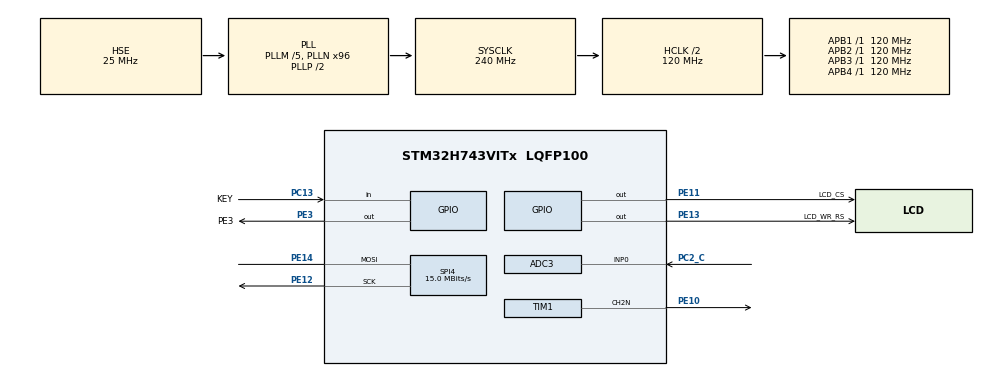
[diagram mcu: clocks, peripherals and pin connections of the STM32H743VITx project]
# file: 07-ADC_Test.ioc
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ADC3.Channel-0\#ChannelRegularConversion=ADC_CHANNEL_0
ADC3.Channel-1\#ChannelRegularConversion=ADC_CHANNEL_VREFINT
ADC3.Channel-2\#ChannelRegularConversion=ADC_CHANNEL_TEMPSENSOR
ADC3.Channel-3\#ChannelRegularConversion=ADC_CHANNEL_VBAT
ADC3.ContinuousConvMode=DISABLE
ADC3.DiscontinuousConvMode=ENABLE
ADC3.NbrOfConversion=4
ADC3.NbrOfConversionFlag=1
ADC3.OffsetNumber-0\#ChannelRegularConversion=ADC_OFFSET_NONE
ADC3.OffsetNumber-1\#ChannelRegularConversion=ADC_OFFSET_NONE
ADC3.OffsetNumber-2\#ChannelRegularConversion=ADC_OFFSET_NONE
ADC3.OffsetNumber-3\#ChannelRegularConversion=ADC_OFFSET_NONE
ADC3.Rank-0\#ChannelRegularConversion=1
ADC3.Rank-1\#ChannelRegularConversion=2
ADC3.Rank-2\#ChannelRegularConversion=3
ADC3.Rank-3\#ChannelRegularConversion=4
ADC3.SamplingTime-0\#ChannelRegularConversion=ADC_SAMPLETIME_387CYCLES_5
ADC3.SamplingTime-1\#ChannelRegularConversion=ADC_SAMPLETIME_387CYCLES_5
ADC3.SamplingTime-2\#ChannelRegularConversion=ADC_SAMPLETIME_387CYCLES_5
ADC3.SamplingTime-3\#ChannelRegularConversion=ADC_SAMPLETIME_387CYCLES_5
Mcu.Family=STM32H7
Mcu.Name=STM32H743VITx
Mcu.Package=LQFP100
NVIC.PriorityGroup=NVIC_PRIORITYGROUP_4
PA13\ (JTMS/SWDIO).Mode=Serial_Wire
PA13\ (JTMS/SWDIO).Signal=DEBUG_JTMS-SWDIO
PA14\ (JTCK/SWCLK).Mode=Serial_Wire
PA14\ (JTCK/SWCLK).Signal=DEBUG_JTCK-SWCLK
PC13.GPIO_Label=KEY
PC13.GPIO_PuPd=GPIO_PULLDOWN
PC13.Signal=GPIO_Input
PC14-OSC32_IN\ (OSC32_IN).Mode=LSE-External-Oscillator
PC14-OSC32_IN\ (OSC32_IN).Signal=RCC_OSC32_IN
PC15-OSC32_OUT\ (OSC32_OUT).Mode=LSE-External-Oscillator
PC15-OSC32_OUT\ (OSC32_OUT).Signal=RCC_OSC32_OUT
PC2_C.Mode=IN0-Single-Ended
PC2_C.Signal=ADC3_INP0
PE10.Mode=PWM Generation2 CH2N
PE10.Signal=TIM1_CH2N
PE11.GPIO_Label=LCD_CS
PE11.GPIO_Speed=GPIO_SPEED_FREQ_VERY_HIGH
PE11.PinState=GPIO_PIN_SET
PE11.Signal=GPIO_Output
PE12.GPIO_Speed=GPIO_SPEED_FREQ_MEDIUM
PE12.Mode=Simplex_Bidirectional_Master
PE12.Signal=SPI4_SCK
PE13.GPIO_Label=LCD_WR_RS
PE13.GPIO_Speed=GPIO_SPEED_FREQ_VERY_HIGH
PE13.PinState=GPIO_PIN_SET
PE13.Signal=GPIO_Output
PE14.GPIO_Speed=GPIO_SPEED_FREQ_MEDIUM
PE14.Mode=Simplex_Bidirectional_Master
PE14.Signal=SPI4_MOSI
PE3.GPIO_Label=PE3
PE3.Signal=GPIO_Output
PH0-OSC_IN\ (PH0).Mode=HSE-External-Oscillator
PH0-OSC_IN\ (PH0).Signal=RCC_OSC_IN
PH1-OSC_OUT\ (PH1).Mode=HSE-External-Oscillator
PH1-OSC_OUT\ (PH1).Signal=RCC_OSC_OUT
ProjectManager.HeapSize=0x200
ProjectManager.StackSize=0x400
ProjectManager.TargetToolchain=MDK-ARM V5.27
RCC.ADCCLockSelection=RCC_ADCCLKSOURCE_PLL3
RCC.ADCFreq_Value=75000000
RCC.APB1Freq_Value=120000000
RCC.APB2Freq_Value=120000000
RCC.APB3Freq_Value=120000000
RCC.APB4Freq_Value=120000000
RCC.CortexFreq_Value=240000000
RCC.DIVM1=5
RCC.DIVM2=4
RCC.DIVM3=10
RCC.DIVN1=96
RCC.DIVN2=9
RCC.DIVN3=60
RCC.DIVP2=1
RCC.HCLKFreq_Value=120000000
RCC.HPRE=RCC_HCLK_DIV2
RCC.PLL2FRACN=3072
RCC.PLL3FRACN=0
RCC.PLLFRACN=0
RCC.PLLSourceVirtual=RCC_PLLSOURCE_HSE
RCC.PWR_Regulator_Voltage_Scale=PWR_REGULATOR_VOLTAGE_SCALE0
RCC.SYSCLKFreq_VALUE=240000000
RCC.SYSCLKSource=RCC_SYSCLKSOURCE_PLLCLK
RCC.USBFreq_Value=240000000
SPI4.BaudRatePrescaler=SPI_BAUDRATEPRESCALER_8
SPI4.CalculateBaudRate=15.0 MBits/s
SPI4.DataSize=SPI_DATASIZE_8BIT
SPI4.Direction=SPI_DIRECTION_1LINE
SPI4.Mode=SPI_MODE_MASTER
SPI4.VirtualType=VM_MASTER
TIM1.Channel-PWM\ Generation2\ CH2N=TIM_CHANNEL_2
TIM1.OCNPolarity_2=TIM_OCNPOLARITY_LOW
TIM1.Period=1000-1
TIM1.Prescaler=12-1
VP_ADC3_TempSens_Input.Mode=IN-TempSens
VP_ADC3_Vbat_Input.Mode=IN-Vbat
VP_ADC3_Vref_Input.Mode=IN-Vrefint
VP_VREFBUF_V_VREFBUF.Mode=ExternalMode
board=custom

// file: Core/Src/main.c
/* USER CODE BEGIN Header */
/**
  ******************************************************************************
  * @file           : main.c
  * @brief          : Main program body
  ******************************************************************************
  * @attention
  *
  * <h2><center>&copy; Copyright (c) 2020 STMicroelectronics.
  * All rights reserved.</center></h2>
  *
  * This software component is licensed by ST under BSD 3-Clause license,
  * the "License"; You may not use this file except in compliance with the
  * License. You may obtain a copy of the License at:
  *                        opensource.org/licenses/BSD-3-Clause
  *
  ******************************************************************************
  */
/* USER CODE END Header */
#include "main.h"
#include "adc.h"
#include "spi.h"
#include "tim.h"
#include "gpio.h"

/* USER CODE BEGIN Includes */
#include "lcd.h"
/* USER CODE END Includes */

void SystemClock_Config(void);
/* USER CODE BEGIN PFP */
__IO uint16_t uhADCxConvertedValue[4];
__IO uint32_t uhADCxInputVoltage[4];
uint32_t adc3_inp0,vbat,tempsensor,vrefint;
/* USER CODE END PFP */

/* USER CODE BEGIN 0 */

static void MPU_Config(void)
{
  MPU_Region_InitTypeDef MPU_InitStruct = {0};

  /* Disables the MPU */
  HAL_MPU_Disable();

  /* Configure the MPU attributes for the QSPI 256MB without instruction access */
  MPU_InitStruct.Enable           = MPU_REGION_ENABLE;
  MPU_InitStruct.Number           = MPU_REGION_NUMBER0;
  MPU_InitStruct.BaseAddress      = QSPI_BASE;
  MPU_InitStruct.Size             = MPU_REGION_SIZE_256MB;
  MPU_InitStruct.AccessPermission = MPU_REGION_NO_ACCESS;
  MPU_InitStruct.IsBufferable     = MPU_ACCESS_NOT_BUFFERABLE;
  MPU_InitStruct.IsCacheable      = MPU_ACCESS_NOT_CACHEABLE;
  MPU_InitStruct.IsShareable      = MPU_ACCESS_NOT_SHAREABLE;
  MPU_InitStruct.DisableExec      = MPU_INSTRUCTION_ACCESS_DISABLE;
  MPU_InitStruct.TypeExtField     = MPU_TEX_LEVEL1;
  MPU_InitStruct.SubRegionDisable = 0x00;
  HAL_MPU_ConfigRegion(&MPU_InitStruct);

  /* Configure the MPU attributes for the QSPI 8MB (QSPI Flash Size) to Cacheable WT */
  MPU_InitStruct.Enable           = MPU_REGION_ENABLE;
  MPU_InitStruct.Number           = MPU_REGION_NUMBER1;
  MPU_InitStruct.BaseAddress      = QSPI_BASE;
  MPU_InitStruct.Size             = MPU_REGION_SIZE_8MB;
  MPU_InitStruct.AccessPermission = MPU_REGION_PRIV_RO;
  MPU_InitStruct.IsBufferable     = MPU_ACCESS_BUFFERABLE;
  MPU_InitStruct.IsCacheable      = MPU_ACCESS_CACHEABLE;
  MPU_InitStruct.IsShareable      = MPU_ACCESS_NOT_SHAREABLE;
  MPU_InitStruct.DisableExec      = MPU_INSTRUCTION_ACCESS_ENABLE;
  MPU_InitStruct.TypeExtField     = MPU_TEX_LEVEL1;
  MPU_InitStruct.SubRegionDisable = 0x00;
  HAL_MPU_ConfigRegion(&MPU_InitStruct);

  /* Enables the MPU */
  HAL_MPU_Enable(MPU_PRIVILEGED_DEFAULT);
}

static void CPU_CACHE_Enable(void)
{
  /* Enable I-Cache */
  SCB_EnableICache();

  /* Enable D-Cache */
  SCB_EnableDCache();
}

void LED_Blink(uint32_t delay)
{
	HAL_GPIO_WritePin(PE3_GPIO_Port,PE3_Pin,GPIO_PIN_SET);
	HAL_Delay(delay - 1);
	HAL_GPIO_WritePin(PE3_GPIO_Port,PE3_Pin,GPIO_PIN_RESET);
	HAL_Delay(500-1);
}
/* USER CODE END 0 */

int main(void)
{
  /* USER CODE BEGIN 1 */
  #ifdef W25Qxx
    SCB->VTOR = QSPI_BASE;
  #endif
  MPU_Config();
  CPU_CACHE_Enable();
  /* USER CODE END 1 */

  /* MCU Configuration--------------------------------------------------------*/

  /* Reset of all peripherals, Initializes the Flash interface and the Systick. */
  HAL_Init();

  /* Configure the system clock */
  SystemClock_Config();

  /* Initialize all configured peripherals */
  MX_GPIO_Init();
  MX_ADC3_Init();
  MX_SPI4_Init();
  MX_TIM1_Init();
  /* USER CODE BEGIN 2 */

  LCD_Test();

	/* Run the ADC calibration in single-ended mode */
  if (HAL_ADCEx_Calibration_Start(&hadc3, ADC_CALIB_OFFSET, ADC_SINGLE_ENDED) != HAL_OK)
  {
    /* Calibration Error */
    Error_Handler();
  }
  /* USER CODE END 2 */

  /* Infinite loop */
  while (1)
  {

    /* USER CODE BEGIN 3 */
		for(uint32_t i = 0;i<(sizeof(uhADCxConvertedValue)/sizeof(uint16_t));i++)
		{
			/*##-1- Start the conversion process #######################################*/
			if (HAL_ADC_Start(&hadc3) != HAL_OK)
			{
				/* Start Conversation Error */
				Error_Handler();
			}
			/*##-2- Wait for the end of conversion #####################################*/
			/*  For simplicity reasons, this example is just waiting till the end of the
					conversion, but application may perform other tasks while conversion
					operation is ongoing. */
			if (HAL_ADC_PollForConversion(&hadc3, 100) != HAL_OK)
			{
				/* End Of Conversion flag not set on time */
				Error_Handler();
			}
			else
			{
				/* ADC conversion completed */
				/*##-3- Get the converted value of regular channel  ########################*/
				uhADCxConvertedValue[i] = HAL_ADC_GetValue(&hadc3);

				/* Convert the result from 16 bit value to the voltage dimension (mV unit) */
				/* Vref = 3.3 V */
				uhADCxInputVoltage[i] = ((uhADCxConvertedValue[i] * 3300) / 0xFFFF);
			}
		}
		HAL_ADC_Stop(&hadc3);

		#define V30  (620)  // mV, V30: 0.62V,datasheet P278
		#define Avg_Slope (2) // mV/¡ãC

		adc3_inp0  = uhADCxInputVoltage[0]; // mv
		vrefint    = uhADCxInputVoltage[1]; // type. 1200mV
		tempsensor = ((int32_t)uhADCxInputVoltage[2] - V30)/Avg_Slope + 30; // ¡ãC
		vbat       = uhADCxInputVoltage[3] * 4;

		uint8_t text[20];
		#ifdef TFT96
		sprintf((char *)&text, " PC2: %4dmV Vref: %4dmV", adc3_inp0, vrefint);
		LCD_ShowString(0, 46, ST7735Ctx.Width, 16, 12, text);
		sprintf((char *)&text, "temp: %3d 'C vbat: %4dmV", tempsensor, vbat);
		LCD_ShowString(0, 62, ST7735Ctx.Width,16,12,text);
		#elif TFT18
		sprintf((char *)&text, " PC2: %4dmV", adc3_inp0);
		LCD_ShowString(0, 46, ST7735Ctx.Width, 16, 12, text);
		sprintf((char *)&text, " Vref: %4dmV", vrefint);
		LCD_ShowString(0, 62, ST7735Ctx.Width, 16, 12, text);
		sprintf((char *)&text, " temp: %3d 'C", tempsensor);
		LCD_ShowString(0, 78, ST7735Ctx.Width, 16, 12, text);
		sprintf((char *)&text, " vbat: %4dmV", vbat);
		LCD_ShowString(0, 94, ST7735Ctx.Width, 16, 12, text);
		#endif

		LED_Blink(3);
  }
  /* USER CODE END 3 */
}

void SystemClock_Config(void)
{
  RCC_OscInitTypeDef RCC_OscInitStruct = {0};
  RCC_ClkInitTypeDef RCC_ClkInitStruct = {0};
  RCC_PeriphCLKInitTypeDef PeriphClkInitStruct = {0};

  /** Supply configuration update enable
  */
  HAL_PWREx_ConfigSupply(PWR_LDO_SUPPLY);
  /** Configure the main internal regulator output voltage
  */
  __HAL_PWR_VOLTAGESCALING_CONFIG(PWR_REGULATOR_VOLTAGE_SCALE2);

  while(!__HAL_PWR_GET_FLAG(PWR_FLAG_VOSRDY)) {}
  /** Macro to configure the PLL clock source
  */
  __HAL_RCC_PLL_PLLSOURCE_CONFIG(RCC_PLLSOURCE_HSE);
  /** Initializes the RCC Oscillators according to the specified parameters
  * in the RCC_OscInitTypeDef structure.
  */
  RCC_OscInitStruct.OscillatorType = RCC_OSCILLATORTYPE_HSE;
  RCC_OscInitStruct.HSEState = RCC_HSE_ON;
  RCC_OscInitStruct.PLL.PLLState = RCC_PLL_ON;
  RCC_OscInitStruct.PLL.PLLSource = RCC_PLLSOURCE_HSE;
  RCC_OscInitStruct.PLL.PLLM = 5;
  RCC_OscInitStruct.PLL.PLLN = 96;
  RCC_OscInitStruct.PLL.PLLP = 2;
  RCC_OscInitStruct.PLL.PLLQ = 2;
  RCC_OscInitStruct.PLL.PLLR = 2;
  RCC_OscInitStruct.PLL.PLLRGE = RCC_PLL1VCIRANGE_2;
  RCC_OscInitStruct.PLL.PLLVCOSEL = RCC_PLL1VCOWIDE;
  RCC_OscInitStruct.PLL.PLLFRACN = 0;
  if (HAL_RCC_OscConfig(&RCC_OscInitStruct) != HAL_OK)
  {
    Error_Handler();
  }
  /** Initializes the CPU, AHB and APB buses clocks
  */
  RCC_ClkInitStruct.ClockType = RCC_CLOCKTYPE_HCLK|RCC_CLOCKTYPE_SYSCLK
                              |RCC_CLOCKTYPE_PCLK1|RCC_CLOCKTYPE_PCLK2
                              |RCC_CLOCKTYPE_D3PCLK1|RCC_CLOCKTYPE_D1PCLK1;
  RCC_ClkInitStruct.SYSCLKSource = RCC_SYSCLKSOURCE_PLLCLK;
  RCC_ClkInitStruct.SYSCLKDivider = RCC_SYSCLK_DIV1;
  RCC_ClkInitStruct.AHBCLKDivider = RCC_HCLK_DIV2;
  RCC_ClkInitStruct.APB3CLKDivider = RCC_APB3_DIV1;
  RCC_ClkInitStruct.APB1CLKDivider = RCC_APB1_DIV1;
  RCC_ClkInitStruct.APB2CLKDivider = RCC_APB2_DIV1;
  RCC_ClkInitStruct.APB4CLKDivider = RCC_APB4_DIV1;

  if (HAL_RCC_ClockConfig(&RCC_ClkInitStruct, FLASH_LATENCY_1) != HAL_OK)
  {
    Error_Handler();
  }
  PeriphClkInitStruct.PeriphClockSelection = RCC_PERIPHCLK_SPI4|RCC_PERIPHCLK_ADC;
  PeriphClkInitStruct.PLL3.PLL3M = 10;
  PeriphClkInitStruct.PLL3.PLL3N = 60;
  PeriphClkInitStruct.PLL3.PLL3P = 2;
  PeriphClkInitStruct.PLL3.PLL3Q = 2;
  PeriphClkInitStruct.PLL3.PLL3R = 1;
  PeriphClkInitStruct.PLL3.PLL3RGE = RCC_PLL3VCIRANGE_1;
  PeriphClkInitStruct.PLL3.PLL3VCOSEL = RCC_PLL3VCOMEDIUM;
  PeriphClkInitStruct.PLL3.PLL3FRACN = 0;
  PeriphClkInitStruct.Spi45ClockSelection = RCC_SPI45CLKSOURCE_D2PCLK1;
  PeriphClkInitStruct.AdcClockSelection = RCC_ADCCLKSOURCE_PLL3;
  if (HAL_RCCEx_PeriphCLKConfig(&PeriphClkInitStruct) != HAL_OK)
  {
    Error_Handler();
  }
}

void Error_Handler(void)
{
  /* USER CODE BEGIN Error_Handler_Debug */
  /* User can add his own implementation to report the HAL error return state */
  while(1)
		LED_Blink(500);
  /* USER CODE END Error_Handler_Debug */
}

/************************ (C) COPYRIGHT STMicroelectronics *****END OF FILE****/
